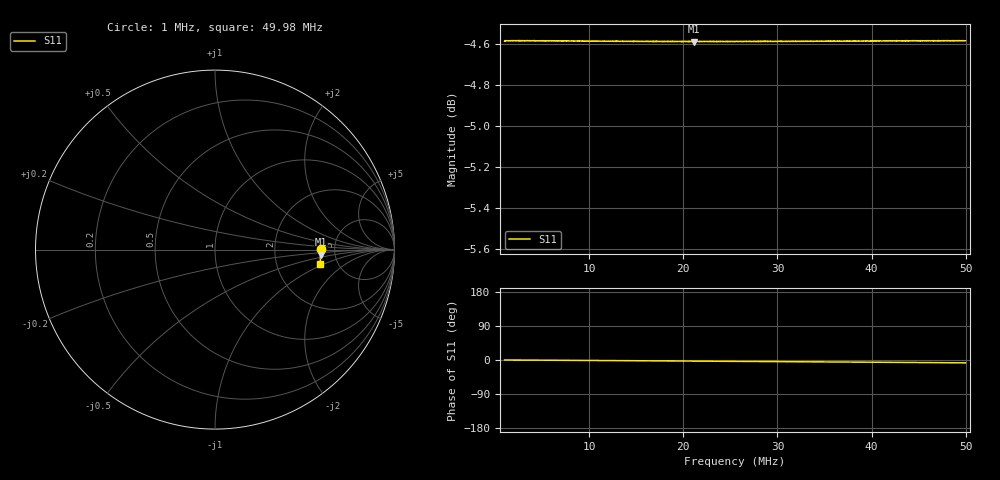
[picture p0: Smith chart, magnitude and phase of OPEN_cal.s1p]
! Created with skrf (http://scikit-rf.org).
# Hz S RI R 50.0
!freq ReS11 ImS11
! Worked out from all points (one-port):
!   2000 points, 1 MHz to 49.98 MHz, reference 50 ohm
!   lowest |S11| = -4.6 dB at 21.16 MHz (marker M1), VSWR 3.87, Z = 192 - j16.5 ohm
!   |S11| at or under -10 dB: nowhere
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1000000  0.5896 0.000831
1098000  0.5897 0.000726
1245000  0.5897 0.000435
2176000  0.5897 -0.00101
3842000  0.5898 -0.00349
7125000  0.5896 -0.00821
8913500  0.5896 -0.0108
1.325e7  0.5894 -0.0169
1.75865e7  0.5891 -0.0231
1.9375e7  0.589 -0.0256
2.11635e7  0.5887 -0.0281
2.2952e7  0.5887 -0.0308
2.55e7  0.5884 -0.0346
2.7901e7  0.5884 -0.0381
3.0057e7  0.5881 -0.0416
3.1625e7  0.5879 -0.0442
3.40015e7  0.5876 -0.0482
3.60105e7  0.5874 -0.0517
3.775e7  0.5871 -0.0548
3.9367e7  0.5868 -0.0576
4.118e7  0.5865 -0.061
4.29685e7  0.5863 -0.0643
4.3875e7  0.5861 -0.0661
4.5688e7  0.5857 -0.0694
4.66435e7  0.5854 -0.0712
4.8432e7  0.585 -0.0746
4.97305e7  0.5847 -0.0771
4.99755e7  0.5846 -0.0776
